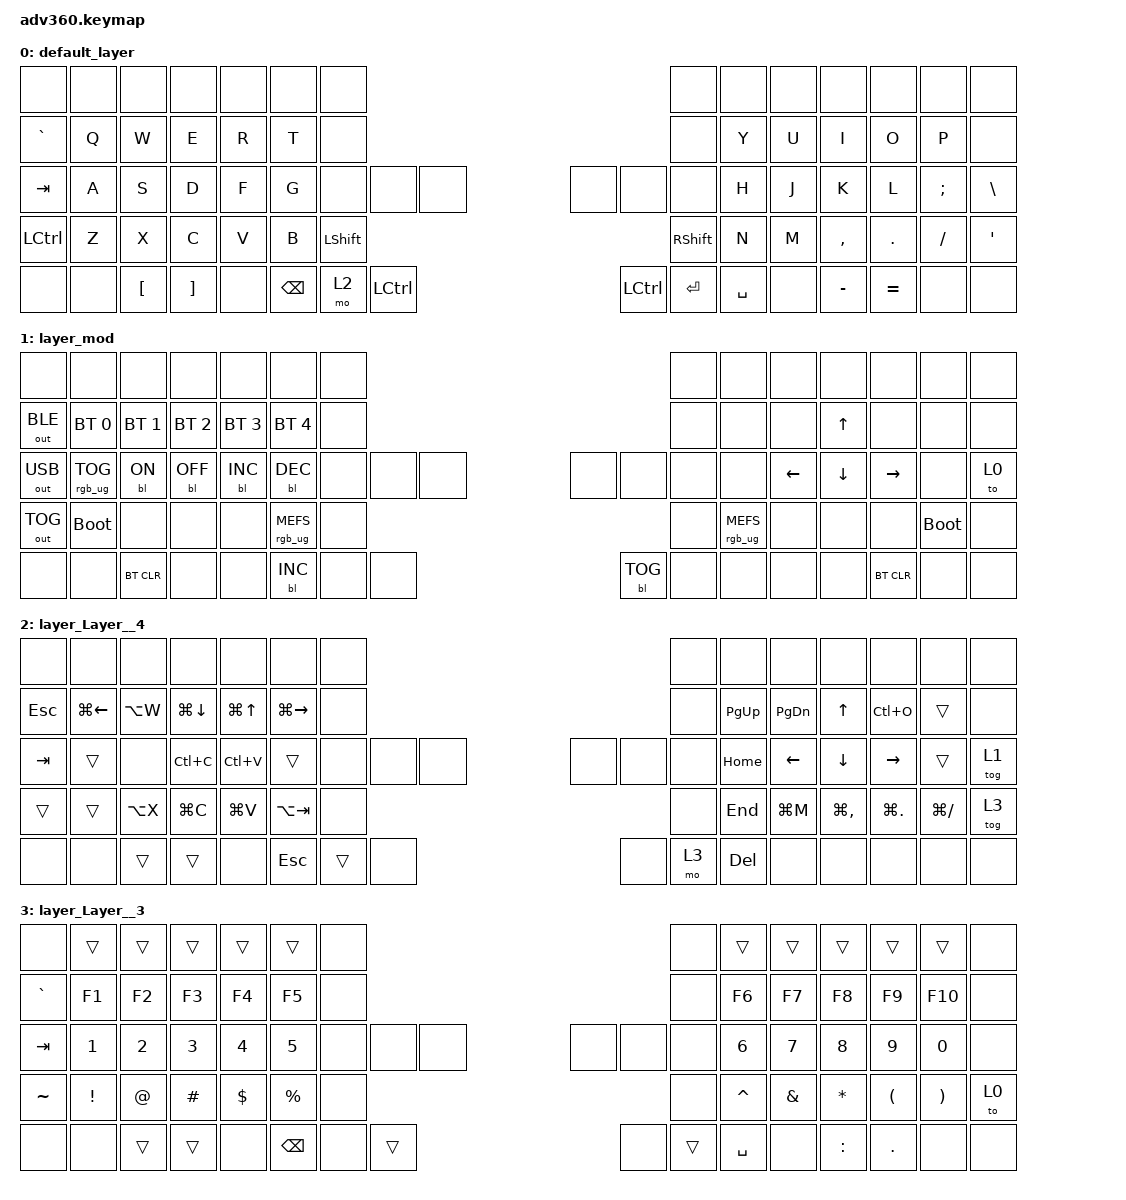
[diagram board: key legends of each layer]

/*
 * Copyright (c) 2020 The ZMK Contributors
 *
 * SPDX-License-Identifier: MIT
 */


/* THIS FILE WAS GENERATED!
 *
 * This file was generated automatically. You may or may not want to
 * edit it directly.
 */

#include <behaviors.dtsi>
#include <dt-bindings/zmk/keys.h>
#include <dt-bindings/zmk/outputs.h>
#include <dt-bindings/zmk/bt.h>
#include <dt-bindings/zmk/rgb.h>
#include <dt-bindings/zmk/backlight.h>

/ {
  behaviors {
    #include "macros.dtsi"
    #include "version.dtsi"

    hm: homerow_mods {
        compatible = "zmk,behavior-hold-tap";
        label = "HOMEROW_MODS";
        #binding-cells = <2>;
        tapping-term-ms = <200>;
        quick_tap_ms = <175>;
        flavor = "tap-preferred";
        bindings = <&kp>, <&kp>;
    };
  };

    keymap {
        compatible = "zmk,keymap";


        default_layer {
            bindings = <
     &none   &none     &none     &none   &none   &none               &none                                                               &none   &none   &none      &none      &none     &none     &none
 &kp GRAVE   &kp Q     &kp W     &kp E   &kp R   &kp T               &none                                                               &none   &kp Y   &kp U      &kp I      &kp O     &kp P     &none
   &kp TAB   &kp A     &kp S     &kp D   &kp F   &kp G               &none   &none      &none                      &none      &none      &none   &kp H   &kp J      &kp K      &kp L  &kp SEMI  &kp BSLH
 &kp LCTRL   &kp Z     &kp X     &kp C   &kp V   &kp B                              &kp LSHFT                  &kp RSHFT                         &kp N   &kp M  &kp COMMA    &kp DOT  &kp FSLH   &kp SQT
     &none   &none  &kp LBKT  &kp RBKT   &none                    &kp BSPC   &mo 2  &kp LCTRL                  &kp LCTRL  &kp ENTER  &kp SPACE           &none  &kp MINUS  &kp EQUAL     &none     &none
            >;
        };

        layer_mod {
            bindings = <
        &none            &none         &none         &none         &none                 &none                 &none                                                       &none                 &none     &none     &none       &none        &none   &none
 &out OUT_BLE     &bt BT_SEL 0  &bt BT_SEL 1  &bt BT_SEL 2  &bt BT_SEL 3          &bt BT_SEL 4                 &none                                                       &none                 &none     &none    &kp UP       &none        &none   &none
 &out OUT_USB  &rgb_ug RGB_TOG     &bl BL_ON    &bl BL_OFF    &bl BL_INC            &bl BL_DEC                 &none   &none   &none                       &none   &none   &none                 &none  &kp LEFT  &kp DOWN   &kp RIGHT        &none   &to 0
 &out OUT_TOG      &bootloader         &none         &none         &none  &rgb_ug RGB_MEFS_CMD                                 &none                       &none                  &rgb_ug RGB_MEFS_CMD     &none     &none       &none  &bootloader   &none
        &none            &none    &bt BT_CLR         &none         &none                                  &bl BL_INC   &none   &none                  &bl BL_TOG   &none   &none                           &none     &none  &bt BT_CLR        &none   &none
            >;
        };

        layer_Layer__4 {
            bindings = <
   &none         &none      &none         &none       &none          &none              &none                                                    &none        &none          &none          &none        &none          &none   &none
 &kp ESC  &kp LG(LEFT)  &kp LA(W)  &kp LG(DOWN)  &kp LG(UP)  &kp LG(RIGHT)              &none                                                    &none  &kp PAGE_UP  &kp PAGE_DOWN         &kp UP    &kp LC(O)         &trans   &none
 &kp TAB        &trans      &none     &kp LC(C)   &kp LC(V)         &trans              &none   &none   &none                   &none   &none    &none     &kp HOME       &kp LEFT       &kp DOWN    &kp RIGHT         &trans  &tog 1
  &trans        &trans  &kp LA(X)     &kp LG(C)   &kp LG(V)    &kp LA(TAB)                              &none                   &none                       &kp END      &kp LG(M)  &kp LG(COMMA)  &kp LG(DOT)  &kp LG(SLASH)  &tog 3
   &none         &none     &trans        &trans       &none                           &kp ESC  &trans   &none                   &none   &mo 3  &kp DEL                       &none          &none        &none          &none   &none
            >;
        };

        layer_Layer__3 {
            bindings = <
     &none           &trans        &trans        &trans        &trans        &trans               &none                                                      &none        &trans         &trans        &trans                &trans                 &trans   &none
 &kp GRAVE           &kp F1        &kp F2        &kp F3        &kp F4        &kp F5               &none                                                      &none        &kp F6         &kp F7        &kp F8                &kp F9                &kp F10   &none
   &kp TAB     &kp NUMBER_1  &kp NUMBER_2  &kp NUMBER_3  &kp NUMBER_4  &kp NUMBER_5               &none   &none   &none                   &none   &none      &none  &kp NUMBER_6   &kp NUMBER_7  &kp NUMBER_8          &kp NUMBER_9                 &kp N0   &none
 &kp TILDE  &kp EXCLAMATION        &kp AT      &kp HASH    &kp DOLLAR   &kp PERCENT                               &none                   &none                        &kp CARET  &kp AMPERSAND  &kp ASTERISK  &kp LEFT_PARENTHESIS  &kp RIGHT_PARENTHESIS   &to 0
     &none            &none        &trans        &trans         &none                          &kp BSPC   &none  &trans                   &none  &trans  &kp SPACE                        &none     &kp COLON               &kp DOT                  &none   &none
            >;
        };

    };
};
